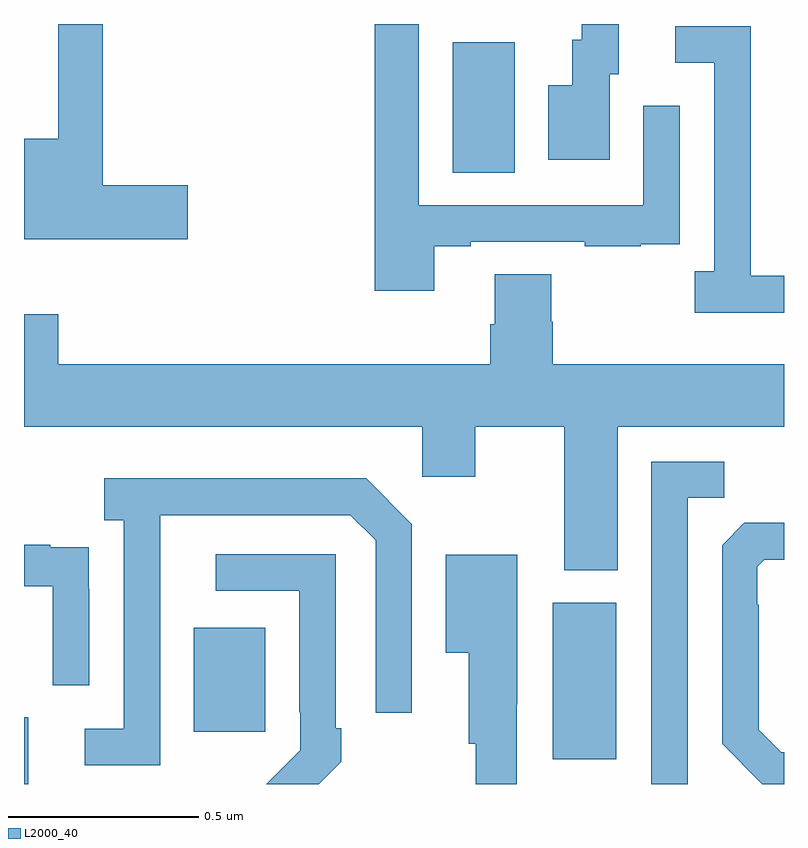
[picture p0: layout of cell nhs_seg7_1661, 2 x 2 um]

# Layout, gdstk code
import gdstk
lib = gdstk.Library(unit=1e-6, precision=1e-09)
def R(c, l, rs):  # rectangles x0, y0, x1, y1
    for r in rs: c.add(gdstk.rectangle(r[:2], r[2:], *l))
def P(c, l, *ps):  # polygons
    for p in ps: c.add(gdstk.Polygon(p, *l))
L2000_40 = (2000, 40)

nhs_seg7_1661 = lib.new_cell('nhs_seg7_1661')
R(nhs_seg7_1661, L2000_40, [(134,1009,134.011,1009.176), (135.392,1009.065,135.559,1009.477), (134.447,1009.137,134.635,1009.411), (135.128,1010.608,135.292,1010.952)])
P(nhs_seg7_1661, L2000_40, [(134.431,1010.576),(134.207,1010.576),(134.207,1011),(134.09,1011),(134.09,1010.698),(134,1010.698),(134,1010.434),(134.431,1010.434)],
  [(135.541,1010.868),(135.565,1010.868),(135.565,1011),(135.468,1011),(135.468,1010.958),(135.443,1010.958),(135.443,1010.839),(135.38,1010.839),(135.38,1010.643),(135.541,1010.643)],
  [(135.079,1010.415),(135.175,1010.415),(135.175,1010.427),(135.475,1010.427),(135.475,1010.415),(135.623,1010.415),(135.623,1010.421),(135.725,1010.421),(135.725,1010.53),(135.726,1010.53),(135.726,1010.785),(135.63,1010.785),(135.63,1010.523),(135.039,1010.523),(135.039,1011),(134.923,1011),(134.923,1010.298),(135.079,1010.298)],
  [(136,1010.337),(135.913,1010.337),(135.913,1010.537),(135.912,1010.537),(135.912,1010.994),(135.714,1010.994),(135.714,1010.898),(135.816,1010.898),(135.816,1010.35),(135.765,1010.35),(135.765,1010.24),(136,1010.24)],
  [(135.562,1009.94),(136,1009.94),(136,1010.104),(135.392,1010.104),(135.392,1010.217),(135.387,1010.217),(135.387,1010.342),(135.239,1010.342),(135.239,1010.21),(135.227,1010.21),(135.227,1010.104),(134.09,1010.104),(134.09,1010.236),(134,1010.236),(134,1009.94),(135.048,1009.94),(135.048,1009.809),(135.187,1009.809),(135.187,1009.94),(135.422,1009.94),(135.422,1009.562),(135.562,1009.562)],
  [(135.747,1009.753),(135.843,1009.753),(135.843,1009.848),(135.651,1009.848),(135.651,1009),(135.747,1009)],
  [(134.358,1009.507),(134.359,1009.507),(134.359,1009.707),(134.859,1009.707),(134.925,1009.641),(134.925,1009.188),(135.021,1009.188),(135.021,1009.683),(134.9,1009.804),(134.211,1009.804),(134.211,1009.694),(134.262,1009.694),(134.262,1009.146),(134.16,1009.146),(134.16,1009.05),(134.358,1009.05)],
  [(136,1009.083),(135.993,1009.083),(135.933,1009.143),(135.933,1009.472),(135.93,1009.472),(135.93,1009.572),(135.948,1009.59),(136,1009.59),(136,1009.688),(135.997,1009.688),(135.997,1009.687),(135.896,1009.687),(135.837,1009.628),(135.837,1009.106),(135.943,1009),(136,1009)],
  [(134.172,1009.514),(134.171,1009.514),(134.171,1009.623),(134.069,1009.623),(134.069,1009.63),(134,1009.63),(134,1009.521),(134.076,1009.521),(134.076,1009.26),(134.172,1009.26)],
  [(134.835,1009.059),(134.835,1009.147),(134.82,1009.147),(134.82,1009.605),(134.505,1009.605),(134.505,1009.509),(134.724,1009.509),(134.724,1009.189),(134.727,1009.189),(134.727,1009.089),(134.638,1009),(134.776,1009)],
  [(135.297,1009.21),(135.298,1009.21),(135.298,1009.603),(135.11,1009.603),(135.11,1009.346),(135.17,1009.346),(135.17,1009.106),(135.189,1009.106),(135.189,1009),(135.297,1009)])

lib.write_gds('nhs_seg7_1661.gds')
